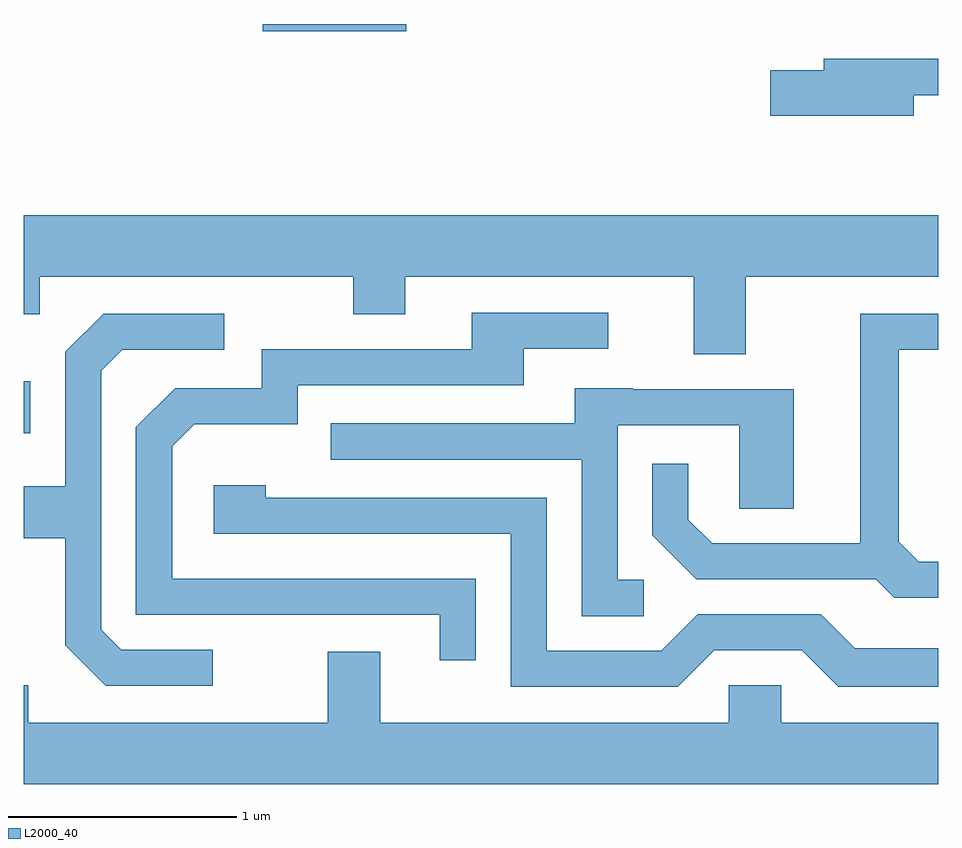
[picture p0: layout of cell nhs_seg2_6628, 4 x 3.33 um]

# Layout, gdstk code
import gdstk
lib = gdstk.Library(unit=1e-6, precision=1e-09)
def R(c, l, rs):  # rectangles x0, y0, x1, y1
    for r in rs: c.add(gdstk.rectangle(r[:2], r[2:], *l))
def P(c, l, *ps):  # polygons
    for p in ps: c.add(gdstk.Polygon(p, *l))
L2000_40 = (2000, 40)

nhs_seg2_6628 = lib.new_cell('nhs_seg2_6628')
R(nhs_seg2_6628, L2000_40, [(379.611,1112.011,379.639,1112.239), (380.656,1113.771,381.284,1113.802)])
P(nhs_seg2_6628, L2000_40, [(383.504,1113.491),(383.611,1113.491),(383.611,1113.649),(383.111,1113.649),(383.111,1113.599),(382.876,1113.599),(382.876,1113.401),(383.504,1113.401)],
  [(382.769,1112.696),(383.611,1112.696),(383.611,1112.964),(379.611,1112.964),(379.611,1112.531),(379.679,1112.531),(379.679,1112.696),(381.051,1112.696),(381.051,1112.531),(381.279,1112.531),(381.279,1112.696),(382.541,1112.696),(382.541,1112.356),(382.769,1112.356)],
  [(381.589,1111.374),(380.259,1111.374),(380.259,1111.954),(380.357,1112.051),(380.809,1112.051),(380.809,1112.221),(381.799,1112.221),(381.799,1112.381),(382.168,1112.381),(382.168,1112.539),(381.571,1112.539),(381.571,1112.379),(380.651,1112.379),(380.651,1112.209),(380.274,1112.209),(380.101,1112.037),(380.101,1111.216),(381.431,1111.216),(381.431,1111.018),(381.589,1111.018)],
  [(380.438,1111.064),(380.037,1111.064),(379.949,1111.152),(379.949,1112.284),(380.042,1112.376),(380.488,1112.376),(380.488,1112.534),(379.959,1112.534),(379.791,1112.367),(379.791,1111.779),(379.611,1111.779),(379.611,1111.551),(379.791,1111.551),(379.791,1111.084),(379.969,1110.906),(380.438,1110.906)],
  [(383.611,1111.449),(383.527,1111.449),(383.439,1111.537),(383.439,1112.376),(383.611,1112.376),(383.611,1112.534),(383.271,1112.534),(383.271,1111.529),(382.622,1111.529),(382.519,1111.632),(382.519,1111.878),(382.361,1111.878),(382.361,1111.564),(382.554,1111.371),(383.339,1111.371),(383.419,1111.291),(383.611,1111.291)],
  [(382.323,1111.369),(382.209,1111.369),(382.209,1112.046),(382.741,1112.046),(382.741,1111.681),(382.979,1111.681),(382.979,1112.204),(382.275,1112.204),(382.275,1112.209),(382.021,1112.209),(382.021,1112.054),(380.953,1112.054),(380.953,1111.896),(382.051,1111.896),(382.051,1111.211),(382.323,1111.211)],
  [(382.632,1111.061),(383.014,1111.061),(383.174,1110.901),(383.611,1110.901),(383.611,1111.069),(383.247,1111.069),(383.097,1111.219),(382.559,1111.219),(382.399,1111.059),(381.899,1111.059),(381.899,1111.729),(380.669,1111.729),(380.669,1111.784),(380.441,1111.784),(380.441,1111.571),(381.741,1111.571),(381.741,1110.901),(382.472,1110.901)],
  [(383.611,1110.744),(382.924,1110.744),(382.924,1110.909),(382.696,1110.909),(382.696,1110.744),(381.169,1110.744),(381.169,1111.054),(380.941,1111.054),(380.941,1110.744),(379.629,1110.744),(379.629,1110.909),(379.611,1110.909),(379.611,1110.476),(383.611,1110.476)])

lib.write_gds('nhs_seg2_6628.gds')
